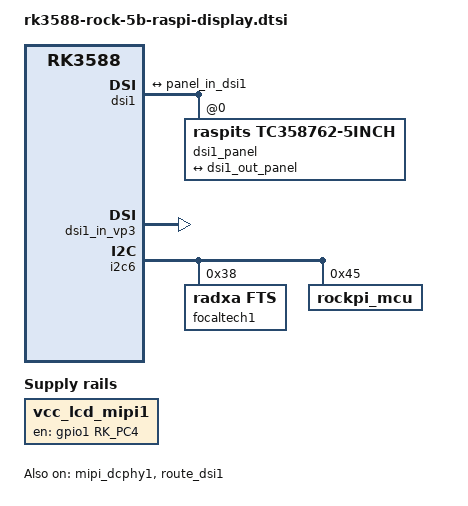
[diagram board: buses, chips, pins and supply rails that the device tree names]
// SPDX-License-Identifier: (GPL-2.0+ OR MIT)
/*
 * Copyright (c) 2021 Rockchip Electronics Co., Ltd.
 */

#include <dt-bindings/display/rockchip_vop.h>

/ {
	compatible = "radxa,rock-5b", "rockchip,rk3588";

	vcc_lcd_mipi1: vcc-lcd-mipi1 {
		status = "okay";
		compatible = "regulator-fixed";
		regulator-name = "vcc_lcd_mipi1";
		gpio = <&gpio1 RK_PC4 GPIO_ACTIVE_HIGH>;
		enable-active-high;
		regulator-boot-on;
		regulator-always-on;
		regulator-state-mem {
			regulator-off-in-suspend;
		};
	};
};

&mipi_dcphy1 {
    status = "okay";
};

&dsi1 {
	status = "okay";
	#address-cells = <1>;
    #size-cells = <0>;
    rockchip,lane-rate = <605>;


	dsi1_panel: dsi-panel@0 {
		compatible = "raspits,tc358762-5inch";
		reg = <0x0>;
		status = "okay";

		ports {
			#address-cells = <1>;
			#size-cells = <0>;

			port@0 {
				reg = <0>;

				panel_in_dsi1: endpoint {
					remote-endpoint = <&dsi1_out_panel>;
				};
			};
		};
	};

	ports {
		#address-cells = <1>;
		#size-cells = <0>;

		port@1 {
			reg = <1>;
			#address-cells = <1>;
			#size-cells = <0>;

			dsi1_out_panel: endpoint@0 {
				reg = <0>;
				remote-endpoint = <&panel_in_dsi1>;
			};
		};
	};
};

&dsi1_in_vp2 {
	status = "disabled";
};

&dsi1_in_vp3 {
	status = "okay";
};

&route_dsi1 {
	status = "okay";
	connect = <&vp3_out_dsi1>;
};

&i2c6 {
	status = "okay";
	pinctrl-names = "default";
	pinctrl-0 = <&i2c6m0_xfer>;
	#address-cells = <1>;
	#size-cells = <0>;

    focaltech1: focaltech1@38 {
               status = "okay";
               compatible = "radxa,fts";
               reg = <0x38>;
               irq_mode = <0>; //0 poll ,1 irq
               x_reverse = <1>;
               y_reverse = <1>;
               xy_swap = <0>;
               focaltech,display-coords =  <0 0 800 480>;
               focaltech,max-touch-number = <5>;
     };

	rockpi_mcu: rockpi-mcu@45 {
		compatible = "rockpi_mcu";
		reg = <0x45>;
		status = "okay";
	};
};
